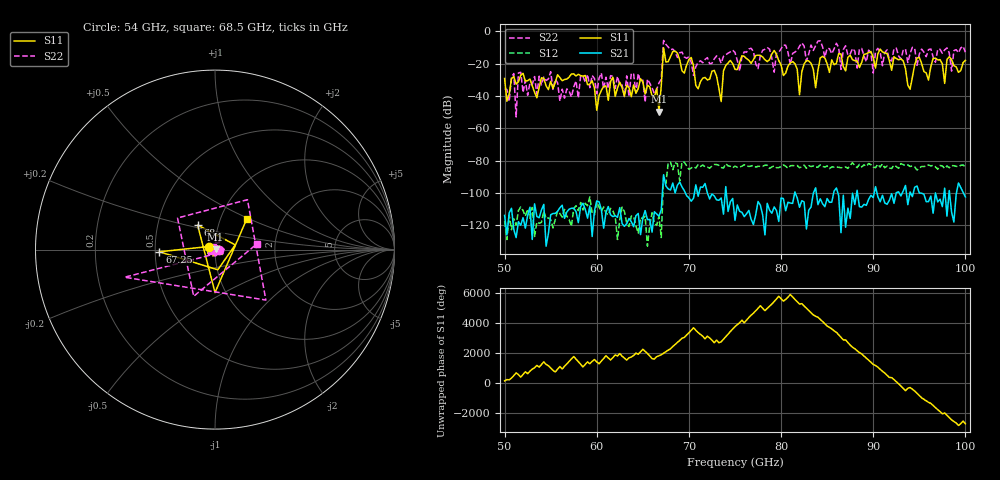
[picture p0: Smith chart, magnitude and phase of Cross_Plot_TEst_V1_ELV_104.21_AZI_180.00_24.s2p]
! 11/25/2026 1:26:52 PM
! C:\ANRITSUVNA\TEMP\TEMP.S2P
! CHANNEL.1
! TR.MEASUREMENT
! RAW.DATA
# HZ S RI R 50.0
! FREQ.HZ  S11RE  S11IM  S21RE  S21IM  S12RE  S12IM  S22RE  S22IM
!; PortSelection: Port_12
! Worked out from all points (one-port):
!   201 points, 50 GHz to 100 GHz, reference 50 ohm
!   lowest |S11| = -49.7 dB at 66.75 GHz (marker M1), VSWR 1.01, Z = 50.3 + j0.0727 ohm
!   |S11| at or under -10 dB: start of sweep to end of sweep
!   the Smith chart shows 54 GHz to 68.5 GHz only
!   S11 on the Smith chart (normalised r, x): 54 GHz: 0.93, +0.03; 67.25 GHz: 0.53, -0.01; 68 GHz: 0.80, +0.22; 68.5 GHz: 1.33, +0.49
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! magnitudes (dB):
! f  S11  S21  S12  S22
! 50 GHz  -29.1  -114.0  -117.7  -35.7
! 51 GHz  -27.9  -122.8  -116.0  -26.1
! 51.25 GHz  -32.6  -127.7  -120.0  -53.0
! 51.5 GHz  -31.2  -117.9  -110.9  -25.7
! 54 GHz  -28.7  -110.5  -118.3  -33.1
! 58.5 GHz  -27.7  -106.4  -110.6  -27.7
! 60 GHz  -48.8  -105.0  -105.7  -38.5
! 61.75 GHz  -28.4  -114.7  -111.2  -27.7
! 66.75 GHz  -49.7  -114.4  -114.5  -31.9
! 67.25 GHz  -10.2  -88.7  -90.6  -5.6
! 68 GHz  -15.5  -98.2  -80.9  -11.3
! 68.5 GHz  -12.1  -100.1  -81.2  -12.6
! 73.5 GHz  -43.4  -103.2  -84.2  -19.7
! 73.75 GHz  -24.4  -113.2  -84.7  -15.4
! 75 GHz  -23.5  -117.1  -83.4  -13.0
! 79.25 GHz  -11.8  -108.7  -83.3  -25.2
! 82 GHz  -39.2  -108.9  -84.4  -9.2
! 83.5 GHz  -23.5  -100.2  -83.3  -11.8
! 91.75 GHz  -18.1  -104.6  -84.6  -17.6
! 94 GHz  -35.8  -99.4  -83.6  -13.7
! 94.75 GHz  -16.5  -95.7  -85.9  -21.0
! 100 GHz  -17.9  -102.5  -84.0  -12.8
